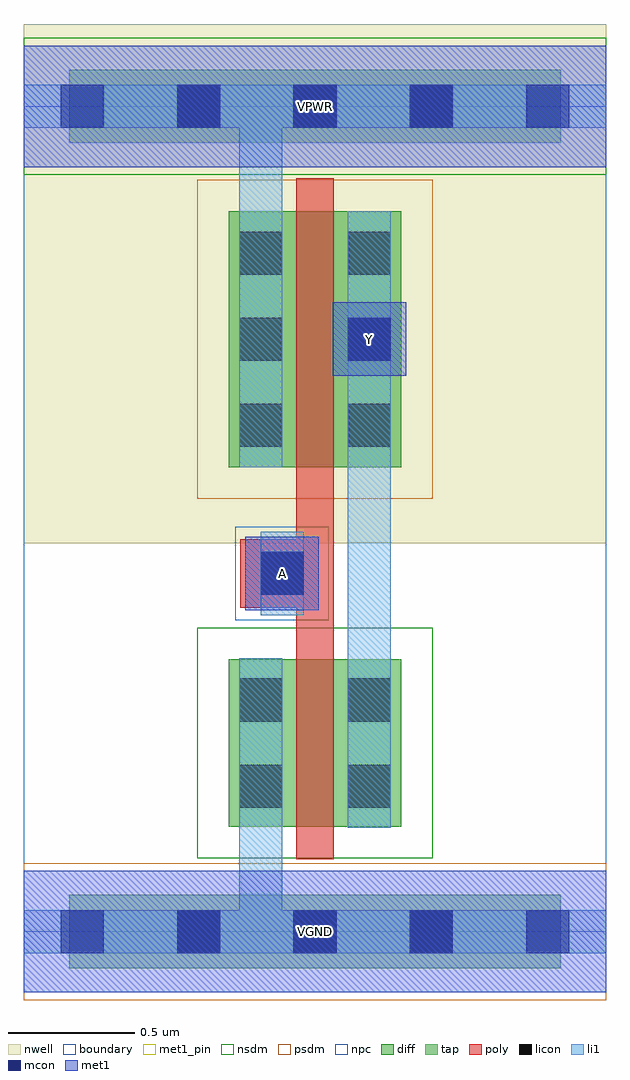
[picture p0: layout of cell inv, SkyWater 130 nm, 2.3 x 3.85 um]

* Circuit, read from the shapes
.subckt inv A VGND VPWR Y
XM1 Y A VGND VGND sky130_fd_pr__nfet_01v8 w=0.66 l=0.15
XM2 Y A VPWR VPWR sky130_fd_pr__pfet_01v8 w=1.01 l=0.15
.ends

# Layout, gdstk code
import gdstk
lib = gdstk.Library(unit=1e-6, precision=1e-09)
def R(c, l, rs):  # rectangles x0, y0, x1, y1
    for r in rs: c.add(gdstk.rectangle(r[:2], r[2:], *l))
def A(c, l, x, y, w, h, nx, ny, dx, dy):  # array of equal rectangles
    R(c, l, [(x+i*dx, y+j*dy, x+i*dx+w, y+j*dy+h) for i in range(nx) for j in range(ny)])
nwell = (64, 20)
diff = (65, 20)
tap = (65, 44)
poly = (66, 20)
licon = (66, 44)
li1 = (67, 20)
mcon = (67, 44)
met1_pin = (68, 16)
met1 = (68, 20)
nsdm = (93, 44)
psdm = (94, 20)
npc = (95, 20)
boundary = (235, 4)

inv = lib.new_cell('inv')
R(inv, nwell, [(0,1.535,2.3,3.585)])
R(inv, diff, [(0.81,0.415,1.49,1.075), (0.81,1.835,1.49,2.845)])
R(inv, tap, [(0.18,-0.145,2.12,0.145), (0.18,3.115,2.12,3.405)])
R(inv, poly, [(1.075,0.285,1.225,2.975), (0.855,1.28,1.185,1.55)])
A(inv, licon, 0.605, -0.085, 0.17, 0.17, 3, 2, 0.46, 3.26)
A(inv, licon, 0.85, 1.915, 0.17, 0.17, 1, 3, 0, 0.34)
A(inv, licon, 1.28, 1.915, 0.17, 0.17, 1, 3, 0, 0.34)
R(inv, licon, [(0.85,0.49,1.02,0.66), (1.28,0.49,1.45,0.66), (0.85,0.83,1.02,1), (1.28,0.83,1.45,1), (0.935,1.33,1.105,1.5)])
R(inv, li1, [(0,-0.085,2.3,0.085), (0.85,-0.085,1.02,1.08), (0.85,0.41,1.02,1.08), (1.28,0.41,1.45,1.08), (1.28,0.41,1.45,2.845), (0.935,1.25,1.105,1.58), (0.85,1.835,1.02,2.845), (0.85,1.835,1.02,3.345), (1.28,1.835,1.45,2.845), (0,3.175,2.3,3.345)])
A(inv, mcon, 0.145, -0.085, 0.17, 0.17, 5, 2, 0.46, 3.26)
R(inv, mcon, [(0.935,1.33,1.105,1.5), (1.28,2.255,1.45,2.425)])
R(inv, met1_pin, [(0,-0.24,2.3,0.24), (0.875,1.27,1.165,1.56), (1.22,2.195,1.51,2.485), (0,3.02,2.3,3.5)])
R(inv, met1, [(0,-0.24,2.3,0.24), (0.875,1.27,1.165,1.56), (1.22,2.195,1.51,2.485), (0,3.02,2.3,3.5)])
R(inv, nsdm, [(0.685,0.29,1.615,1.2), (0,2.99,2.3,3.53)])
R(inv, psdm, [(0,-0.27,2.3,0.27), (0.685,1.71,1.615,2.97)])
R(inv, npc, [(0.835,1.23,1.205,1.6)])
R(inv, boundary, [(0,0,2.3,3.26)])
inv.add(gdstk.Label('A', (1.02,1.415), layer=68, texttype=5))
inv.add(gdstk.Label('Y', (1.365,2.34), layer=68, texttype=5))
inv.add(gdstk.Label('VPWR', (1.15,3.26), layer=68, texttype=5))
inv.add(gdstk.Label('VGND', (1.15,0), layer=68, texttype=5))
inv.add(gdstk.Label('A', (1.02,1.415), layer=68, texttype=16))
inv.add(gdstk.Label('Y', (1.365,2.34), layer=68, texttype=16))
inv.add(gdstk.Label('VPWR', (1.15,3.26), layer=68, texttype=16))
inv.add(gdstk.Label('VGND', (1.15,0), layer=68, texttype=16))

lib.write_gds('inv.gds')
